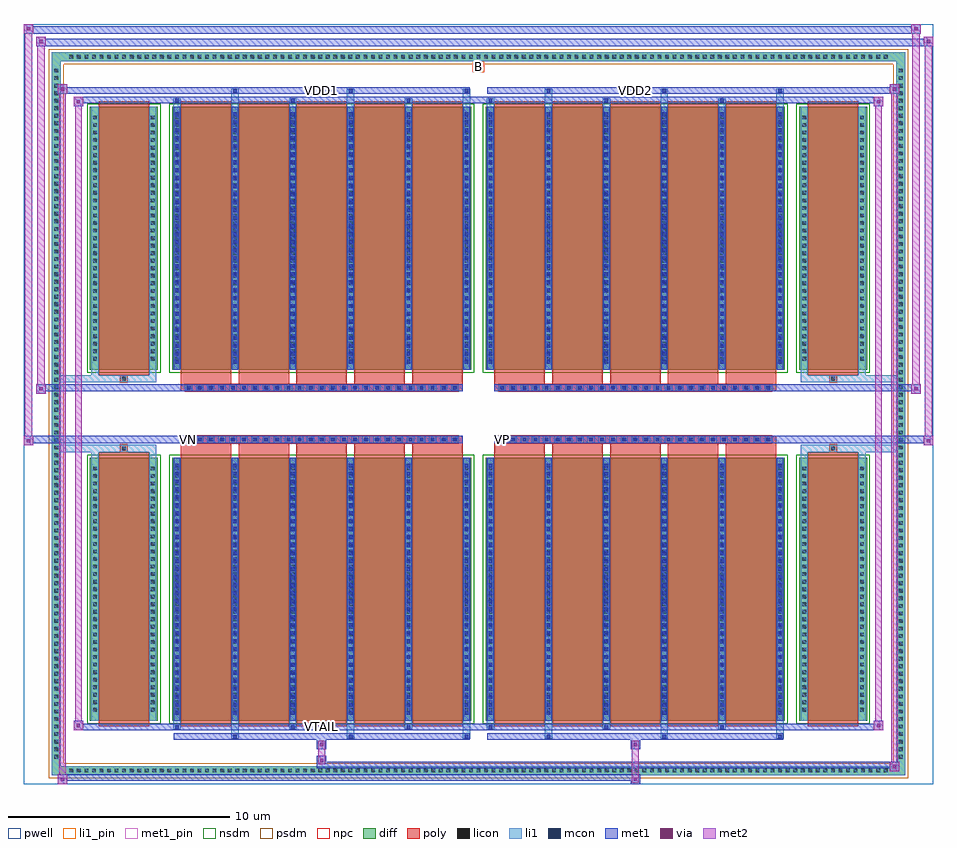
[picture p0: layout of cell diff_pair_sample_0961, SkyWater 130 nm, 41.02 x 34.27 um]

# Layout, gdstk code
import gdstk
lib = gdstk.Library(unit=1e-6, precision=5e-09)
def R(c, l, rs):  # rectangles x0, y0, x1, y1
    for r in rs: c.add(gdstk.rectangle(r[:2], r[2:], *l))
def A(c, l, x, y, w, h, nx, ny, dx, dy):  # array of equal rectangles
    R(c, l, [(x+i*dx, y+j*dy, x+i*dx+w, y+j*dy+h) for i in range(nx) for j in range(ny)])
def P(c, l, *ps):  # polygons
    for p in ps: c.add(gdstk.Polygon(p, *l))
pwell = (64, 44)
diff = (65, 20)
poly = (66, 20)
licon = (66, 44)
li1_pin = (67, 16)
li1 = (67, 20)
mcon = (67, 44)
met1_pin = (68, 16)
met1 = (68, 20)
via = (68, 44)
met2 = (69, 20)
nsdm = (93, 44)
psdm = (94, 20)
npc = (95, 20)

diff_pair_sample_0961 = lib.new_cell('diff_pair_sample_0961')
R(diff_pair_sample_0961, pwell, [(-20.51,-16.7,20.51,17.57), (-17.83,-14.89,-0.01,-0.805), (0.01,-14.89,17.83,-0.805), (-17.83,0.805,-0.01,14.89), (0.01,0.805,17.83,14.89)])
A(diff_pair_sample_0961, diff, -18.565, -16.3, 0.41, 0.41, 109, 2, 0.34, 32.19)
A(diff_pair_sample_0961, diff, -19.24, -15.675, 0.41, 0.41, 1, 92, 0, 0.34)
A(diff_pair_sample_0961, diff, 18.83, -15.675, 0.41, 0.41, 1, 92, 0, 0.34)
R(diff_pair_sample_0961, diff, [(-18.565,-16.3,18.565,-15.89), (-19.24,-15.675,-18.83,15.675), (18.83,-15.675,19.24,15.675), (-17.52,-13.845,-14.46,-1.985), (-13.82,-13.845,-0.32,-1.985), (0.32,-13.845,13.82,-1.985), (14.46,-13.845,17.52,-1.985), (-17.52,1.985,-14.46,13.845), (-13.82,1.985,-0.32,13.845), (0.32,1.985,13.82,13.845), (14.46,1.985,17.52,13.845), (-18.565,15.89,18.565,16.3)])
P(diff_pair_sample_0961, diff, [(19.24,16.3),(-19.24,16.3),(-19.24,-15.89),(-18.83,-15.89),(-18.83,15.89),(18.83,15.89),(18.83,-15.89),(-18.83,-15.89),(-19.24,-15.89),(-19.24,-16.3),(19.24,-16.3)])
A(diff_pair_sample_0961, poly, -13.43, -14.095, 2.28, 12.36, 5, 2, 2.61, 15.83)
A(diff_pair_sample_0961, poly, 0.71, -14.095, 2.28, 12.36, 5, 2, 2.61, 15.83)
A(diff_pair_sample_0961, poly, -13.43, -1.735, 2.28, 0.4, 5, 2, 2.61, 3.07)
A(diff_pair_sample_0961, poly, 0.71, -1.735, 2.28, 0.4, 5, 2, 2.61, 3.07)
A(diff_pair_sample_0961, poly, -13.235, -1.335, 0.33, 0.33, 25, 2, 0.5, 2.34)
A(diff_pair_sample_0961, poly, 0.905, -1.335, 0.33, 0.33, 25, 2, 0.5, 2.34)
R(diff_pair_sample_0961, poly, [(-17.13,-14.095,-14.85,-1.735), (14.85,-14.095,17.13,-1.735), (-16.155,-1.735,-15.825,-1.405), (-16.155,-1.735,-15.825,-1.405), (15.825,-1.735,16.155,-1.405), (15.825,-1.735,16.155,-1.405), (-13.43,-1.335,-0.71,-1.005), (0.71,-1.335,13.43,-1.005), (-13.43,1.005,-0.71,1.335), (0.71,1.005,13.43,1.335), (-16.155,1.405,-15.825,1.735), (-16.155,1.405,-15.825,1.735), (15.825,1.405,16.155,1.735), (15.825,1.405,16.155,1.735), (-17.13,1.735,-14.85,14.095), (14.85,1.735,17.13,14.095)])
A(diff_pair_sample_0961, licon, -18.445, -16.18, 0.17, 0.17, 109, 2, 0.34, 32.19)
A(diff_pair_sample_0961, licon, -19.12, -15.555, 0.17, 0.17, 1, 92, 0, 0.34)
A(diff_pair_sample_0961, licon, 18.95, -15.555, 0.17, 0.17, 1, 92, 0, 0.34)
A(diff_pair_sample_0961, licon, -17.38, -13.44, 0.17, 0.17, 1, 33, 0, 0.34)
A(diff_pair_sample_0961, licon, -14.77, -13.44, 0.17, 0.17, 1, 33, 0, 0.34)
A(diff_pair_sample_0961, licon, -13.68, -13.44, 0.17, 0.17, 6, 33, 2.61, 0.34)
A(diff_pair_sample_0961, licon, 0.46, -13.44, 0.17, 0.17, 6, 33, 2.61, 0.34)
A(diff_pair_sample_0961, licon, 14.6, -13.44, 0.17, 0.17, 1, 33, 0, 0.34)
A(diff_pair_sample_0961, licon, 17.21, -13.44, 0.17, 0.17, 1, 33, 0, 0.34)
A(diff_pair_sample_0961, licon, -13.155, -1.255, 0.17, 0.17, 25, 2, 0.5, 2.34)
A(diff_pair_sample_0961, licon, 0.985, -1.255, 0.17, 0.17, 25, 2, 0.5, 2.34)
A(diff_pair_sample_0961, licon, -17.38, 2.39, 0.17, 0.17, 1, 33, 0, 0.34)
A(diff_pair_sample_0961, licon, -14.77, 2.39, 0.17, 0.17, 1, 33, 0, 0.34)
A(diff_pair_sample_0961, licon, -13.68, 2.39, 0.17, 0.17, 6, 33, 2.61, 0.34)
A(diff_pair_sample_0961, licon, 0.46, 2.39, 0.17, 0.17, 6, 33, 2.61, 0.34)
A(diff_pair_sample_0961, licon, 14.6, 2.39, 0.17, 0.17, 1, 33, 0, 0.34)
A(diff_pair_sample_0961, licon, 17.21, 2.39, 0.17, 0.17, 1, 33, 0, 0.34)
R(diff_pair_sample_0961, licon, [(-16.075,-1.655,-15.905,-1.485), (15.905,-1.655,16.075,-1.485), (-16.075,1.485,-15.905,1.655), (15.905,1.485,16.075,1.655)])
R(diff_pair_sample_0961, li1_pin, [(-0.25,15.39,0.25,15.89)])
A(diff_pair_sample_0961, li1, -18.525, -16.26, 0.33, 0.33, 109, 2, 0.34, 32.19)
A(diff_pair_sample_0961, li1, -19.2, -15.635, 0.33, 0.33, 1, 92, 0, 0.34)
A(diff_pair_sample_0961, li1, 18.87, -15.635, 0.33, 0.33, 1, 92, 0, 0.34)
A(diff_pair_sample_0961, li1, -11.15, -14.65, 0.33, 0.805, 3, 2, 5.22, 28.495)
A(diff_pair_sample_0961, li1, -11.07, -14.65, 0.17, 0.17, 3, 2, 5.22, 29.13)
A(diff_pair_sample_0961, li1, 2.99, -14.65, 0.33, 0.805, 3, 2, 5.22, 28.495)
A(diff_pair_sample_0961, li1, 3.07, -14.65, 0.17, 0.17, 3, 2, 5.22, 29.13)
A(diff_pair_sample_0961, li1, -13.76, -14.22, 0.33, 0.375, 3, 2, 5.22, 28.065)
A(diff_pair_sample_0961, li1, -13.68, -14.22, 0.17, 0.17, 3, 2, 5.22, 28.27)
A(diff_pair_sample_0961, li1, 0.38, -14.22, 0.33, 0.375, 3, 2, 5.22, 28.065)
A(diff_pair_sample_0961, li1, 0.46, -14.22, 0.17, 0.17, 3, 2, 5.22, 28.27)
A(diff_pair_sample_0961, li1, -13.76, -13.845, 0.33, 11.86, 6, 2, 2.61, 15.83)
A(diff_pair_sample_0961, li1, 0.38, -13.845, 0.33, 11.86, 6, 2, 2.61, 15.83)
A(diff_pair_sample_0961, li1, -13.68, -13.58, 0.17, 0.17, 6, 32, 2.61, 0.36)
A(diff_pair_sample_0961, li1, -13.68, -13.58, 0.17, 11.33, 6, 2, 2.61, 15.83)
A(diff_pair_sample_0961, li1, 0.46, -13.58, 0.17, 0.17, 6, 32, 2.61, 0.36)
A(diff_pair_sample_0961, li1, 0.46, -13.58, 0.17, 11.33, 6, 2, 2.61, 15.83)
A(diff_pair_sample_0961, li1, -17.46, -13.52, 0.33, 0.33, 1, 33, 0, 0.34)
A(diff_pair_sample_0961, li1, -14.85, -13.52, 0.33, 0.33, 1, 33, 0, 0.34)
A(diff_pair_sample_0961, li1, -13.76, -13.52, 0.33, 0.33, 6, 33, 2.61, 0.34)
A(diff_pair_sample_0961, li1, 0.38, -13.52, 0.33, 0.33, 6, 33, 2.61, 0.34)
A(diff_pair_sample_0961, li1, 14.52, -13.52, 0.33, 0.33, 1, 33, 0, 0.34)
A(diff_pair_sample_0961, li1, 17.13, -13.52, 0.33, 0.33, 1, 33, 0, 0.34)
A(diff_pair_sample_0961, li1, -13.235, -1.335, 0.33, 0.33, 25, 2, 0.5, 2.34)
A(diff_pair_sample_0961, li1, 0.905, -1.335, 0.33, 0.33, 25, 2, 0.5, 2.34)
A(diff_pair_sample_0961, li1, -13.68, 2.25, 0.17, 0.17, 6, 32, 2.61, 0.36)
A(diff_pair_sample_0961, li1, 0.46, 2.25, 0.17, 0.17, 6, 32, 2.61, 0.36)
A(diff_pair_sample_0961, li1, -17.46, 2.31, 0.33, 0.33, 1, 33, 0, 0.34)
A(diff_pair_sample_0961, li1, -14.85, 2.31, 0.33, 0.33, 1, 33, 0, 0.34)
A(diff_pair_sample_0961, li1, -13.76, 2.31, 0.33, 0.33, 6, 33, 2.61, 0.34)
A(diff_pair_sample_0961, li1, 0.38, 2.31, 0.33, 0.33, 6, 33, 2.61, 0.34)
A(diff_pair_sample_0961, li1, 14.52, 2.31, 0.33, 0.33, 1, 33, 0, 0.34)
A(diff_pair_sample_0961, li1, 17.13, 2.31, 0.33, 0.33, 1, 33, 0, 0.34)
R(diff_pair_sample_0961, li1, [(-19.24,-16.3,-18.83,-15.89), (-19.24,-16.3,-18.83,-15.89), (-18.83,-16.3,18.83,-15.89), (18.83,-16.3,19.24,-15.89), (18.83,-16.3,19.24,-15.89), (-19.24,-15.89,-18.83,15.89), (18.83,-15.89,19.24,15.89), (-17.46,-13.845,-17.13,-1.985), (-14.85,-13.845,-14.52,-1.985), (14.52,-13.845,14.85,-1.985), (17.13,-13.845,17.46,-1.985), (-17.46,-1.985,-17.13,-1.405), (-14.85,-1.985,-14.52,-1.405), (14.52,-1.985,14.85,-1.405), (17.13,-1.985,17.46,-1.405), (-19.24,-1.735,-16.155,-1.405), (-17.46,-1.735,-16.155,-1.405), (-16.155,-1.735,-15.825,-1.405), (-15.825,-1.735,-14.52,-1.405), (14.52,-1.735,15.825,-1.405), (15.825,-1.735,16.155,-1.405), (15.825,-1.735,19.24,-1.405), (16.155,-1.735,17.46,-1.405), (-19.24,1.405,-16.155,1.735), (-17.46,1.405,-16.155,1.735), (-17.46,1.405,-17.13,1.985), (-16.155,1.405,-15.825,1.735), (-15.825,1.405,-14.52,1.735), (-14.85,1.405,-14.52,1.985), (14.52,1.405,15.825,1.735), (14.52,1.405,14.85,1.985), (15.825,1.405,16.155,1.735), (15.825,1.405,19.24,1.735), (16.155,1.405,17.46,1.735), (17.13,1.405,17.46,1.985), (-17.46,1.985,-17.13,13.845), (-14.85,1.985,-14.52,13.845), (14.52,1.985,14.85,13.845), (17.13,1.985,17.46,13.845), (-19.24,15.89,-18.83,16.3), (-19.24,15.89,-18.83,16.3), (-18.83,15.89,18.83,16.3), (18.83,15.89,19.24,16.3), (18.83,15.89,19.24,16.3)])
A(diff_pair_sample_0961, mcon, -11.07, -14.65, 0.17, 0.17, 3, 2, 5.22, 29.13)
A(diff_pair_sample_0961, mcon, 3.07, -14.65, 0.17, 0.17, 3, 2, 5.22, 29.13)
A(diff_pair_sample_0961, mcon, -13.68, -14.22, 0.17, 0.17, 3, 2, 5.22, 28.27)
A(diff_pair_sample_0961, mcon, 0.46, -14.22, 0.17, 0.17, 3, 2, 5.22, 28.27)
A(diff_pair_sample_0961, mcon, -13.68, -13.58, 0.17, 0.17, 6, 32, 2.61, 0.36)
A(diff_pair_sample_0961, mcon, 0.46, -13.58, 0.17, 0.17, 6, 32, 2.61, 0.36)
A(diff_pair_sample_0961, mcon, -13.155, -1.255, 0.17, 0.17, 25, 2, 0.5, 2.34)
A(diff_pair_sample_0961, mcon, 0.985, -1.255, 0.17, 0.17, 25, 2, 0.5, 2.34)
A(diff_pair_sample_0961, mcon, -13.68, 2.25, 0.17, 0.17, 6, 32, 2.61, 0.36)
A(diff_pair_sample_0961, mcon, 0.46, 2.25, 0.17, 0.17, 6, 32, 2.61, 0.36)
R(diff_pair_sample_0961, met1_pin, [(-7.205,-14.26,-6.935,-13.99), (-13.205,-1.295,-12.935,-1.025), (0.935,-1.295,1.205,-1.025), (-7.205,14.44,-6.935,14.71), (6.935,14.44,7.205,14.71)])
A(diff_pair_sample_0961, met1, -11.13, -14.71, 0.29, 0.29, 3, 2, 5.22, 29.13)
A(diff_pair_sample_0961, met1, 3.01, -14.71, 0.29, 0.29, 3, 2, 5.22, 29.13)
A(diff_pair_sample_0961, met1, -13.74, -14.28, 0.29, 0.29, 3, 2, 5.22, 28.27)
A(diff_pair_sample_0961, met1, 0.4, -14.28, 0.29, 0.29, 3, 2, 5.22, 28.27)
A(diff_pair_sample_0961, met1, -13.74, -13.845, 0.29, 11.86, 6, 2, 2.61, 15.83)
A(diff_pair_sample_0961, met1, 0.4, -13.845, 0.29, 11.86, 6, 2, 2.61, 15.83)
A(diff_pair_sample_0961, met1, -13.74, -13.64, 0.29, 0.29, 6, 32, 2.61, 0.36)
A(diff_pair_sample_0961, met1, 0.4, -13.64, 0.29, 0.29, 6, 32, 2.61, 0.36)
A(diff_pair_sample_0961, met1, -13.215, -1.315, 0.29, 0.29, 25, 2, 0.5, 2.34)
A(diff_pair_sample_0961, met1, 0.925, -1.315, 0.29, 0.29, 25, 2, 0.5, 2.34)
A(diff_pair_sample_0961, met1, -13.74, 2.19, 0.29, 0.29, 6, 32, 2.61, 0.36)
A(diff_pair_sample_0961, met1, 0.4, 2.19, 0.29, 0.29, 6, 32, 2.61, 0.36)
R(diff_pair_sample_0961, met1, [(-18.97,-16.7,-18.54,-16.27), (6.855,-16.7,7.285,-16.27), (-18.97,-16.56,7.285,-16.27), (18.54,-16.13,18.97,-15.7), (-7.285,-15.99,18.97,-15.7), (-7.285,-15.85,-6.855,-15.42), (-7.285,-15.14,-6.855,-14.71), (6.855,-15.14,7.285,-14.71), (-13.74,-14.71,-0.4,-14.42), (0.4,-14.71,13.74,-14.42), (-18.26,-14.28,-17.83,-13.85), (-18.26,-14.28,-13.74,-13.99), (-13.74,-14.28,-0.4,-13.99), (-0.4,-14.28,0.4,-13.99), (0.4,-14.28,13.74,-13.99), (13.74,-14.28,18.26,-13.99), (17.83,-14.28,18.26,-13.85), (-20.51,-1.435,-20.08,-1.005), (20.08,-1.435,20.51,-1.005), (-20.51,-1.335,-0.71,-1.005), (-13.43,-1.335,-0.71,-1.005), (0.71,-1.335,13.43,-1.005), (0.71,-1.335,20.51,-1.005), (-19.94,0.905,-19.51,1.335), (19.51,0.905,19.94,1.335), (-19.94,1.005,-13.43,1.335), (-13.43,1.005,-0.71,1.335), (0.71,1.005,13.43,1.335), (13.43,1.005,19.94,1.335), (-18.26,13.85,-17.83,14.28), (17.83,13.85,18.26,14.28), (-18.26,13.99,-13.74,14.28), (-13.74,13.99,-0.4,14.28), (-0.4,13.99,0.4,14.28), (0.4,13.99,13.74,14.28), (13.74,13.99,18.26,14.28), (-18.97,14.42,-18.54,14.85), (-18.97,14.42,-13.74,14.71), (-13.74,14.42,-0.4,14.71), (0.4,14.42,13.74,14.71), (13.74,14.42,18.97,14.71), (18.54,14.42,18.97,14.85), (-19.94,16.57,-19.51,17), (-19.94,16.57,-17.83,16.9), (-17.83,16.57,17.83,16.9), (17.83,16.57,20.51,16.9), (20.08,16.57,20.51,17), (-20.51,17.14,-20.08,17.57), (-20.51,17.14,-17.83,17.47), (-17.83,17.14,17.83,17.47), (17.83,17.14,19.94,17.47), (19.51,17.14,19.94,17.57)])
R(diff_pair_sample_0961, via, [(-18.83,-16.56,-18.68,-16.41), (6.995,-16.56,7.145,-16.41), (18.68,-15.99,18.83,-15.84), (-7.145,-15.71,-6.995,-15.56), (-7.145,-15,-6.995,-14.85), (6.995,-15,7.145,-14.85), (-18.12,-14.14,-17.97,-13.99), (17.97,-14.14,18.12,-13.99), (-20.37,-1.295,-20.22,-1.145), (20.22,-1.295,20.37,-1.145), (-19.8,1.045,-19.65,1.195), (19.65,1.045,19.8,1.195), (-18.12,13.99,-17.97,14.14), (17.97,13.99,18.12,14.14), (-18.83,14.56,-18.68,14.71), (18.68,14.56,18.83,14.71), (-19.8,16.71,-19.65,16.86), (20.22,16.71,20.37,16.86), (-20.37,17.28,-20.22,17.43), (19.65,17.28,19.8,17.43)])
R(diff_pair_sample_0961, met2, [(-18.97,-16.7,-18.54,-16.27), (-18.9,-16.7,-18.61,14.85), (-18.61,-16.7,-18.54,-16.27), (-18.92,-16.65,-18.59,-16.32), (6.905,-16.65,7.235,-16.32), (6.905,-16.32,7.235,-15.09), (18.54,-16.13,18.97,-15.7), (18.61,-16.13,18.9,14.85), (18.9,-16.13,18.97,-15.7), (18.59,-16.08,18.92,-15.75), (-7.235,-15.8,-6.905,-15.47), (-7.235,-15.47,-6.905,-15.09), (-7.235,-15.09,-6.905,-14.76), (6.905,-15.09,7.235,-14.76), (-18.26,-14.28,-17.83,-13.85), (-18.19,-14.28,-17.9,14.28), (-17.9,-14.28,-17.83,-13.85), (17.83,-14.28,18.26,-13.85), (17.9,-14.28,18.19,14.28), (18.19,-14.28,18.26,-13.85), (-18.21,-14.23,-17.88,-13.9), (17.88,-14.23,18.21,-13.9), (-20.51,-1.435,-20.08,-1.005), (-20.46,-1.435,-20.13,17.57), (-20.13,-1.435,-20.08,-1.005), (20.08,-1.435,20.51,-1.005), (20.13,-1.435,20.46,17), (20.46,-1.435,20.51,-1.005), (-20.46,-1.385,-20.13,-1.055), (20.13,-1.385,20.46,-1.055), (-19.94,0.905,-19.51,1.335), (-19.89,0.905,-19.56,17), (-19.56,0.905,-19.51,1.335), (19.51,0.905,19.94,1.335), (19.56,0.905,19.89,17.57), (19.89,0.905,19.94,1.335), (-19.89,0.955,-19.56,1.285), (19.56,0.955,19.89,1.285), (-18.26,13.85,-17.83,14.28), (-17.9,13.85,-17.83,14.28), (17.83,13.85,18.26,14.28), (18.19,13.85,18.26,14.28), (-18.21,13.9,-17.88,14.23), (17.88,13.9,18.21,14.23), (-18.97,14.42,-18.54,14.85), (-18.61,14.42,-18.54,14.85), (18.54,14.42,18.97,14.85), (18.9,14.42,18.97,14.85), (-18.92,14.47,-18.59,14.8), (18.59,14.47,18.92,14.8), (-19.94,16.57,-19.51,17), (-19.56,16.57,-19.51,17), (20.08,16.57,20.51,17), (20.46,16.57,20.51,17), (-19.89,16.62,-19.56,16.95), (20.13,16.62,20.46,16.95), (-20.51,17.14,-20.08,17.57), (-20.13,17.14,-20.08,17.57), (19.51,17.14,19.94,17.57), (19.89,17.14,19.94,17.57), (-20.46,17.19,-20.13,17.52), (19.56,17.19,19.89,17.52)])
R(diff_pair_sample_0961, nsdm, [(-17.65,-13.975,-14.33,-1.855), (-13.95,-13.975,-0.19,-1.855), (0.19,-13.975,13.95,-1.855), (14.33,-13.975,17.65,-1.855), (-17.65,1.855,-14.33,13.975), (-13.95,1.855,-0.19,13.975), (0.19,1.855,13.95,13.975), (14.33,1.855,17.65,13.975)])
P(diff_pair_sample_0961, psdm, [(19.37,16.43),(-19.37,16.43),(-19.37,-15.76),(-18.7,-15.76),(-18.7,15.76),(18.7,15.76),(18.7,-15.76),(-18.7,-15.76),(-19.37,-15.76),(-19.37,-16.43),(19.37,-16.43)])
A(diff_pair_sample_0961, npc, -13.255, -1.355, 0.37, 0.37, 25, 2, 0.5, 2.34)
A(diff_pair_sample_0961, npc, 0.885, -1.355, 0.37, 0.37, 25, 2, 0.5, 2.34)
R(diff_pair_sample_0961, npc, [(-16.175,-1.755,-15.805,-1.385), (15.805,-1.755,16.175,-1.385), (-13.255,-1.355,-12.385,-0.985), (-13.255,-1.355,-12.385,-0.985), (-12.755,-1.355,-11.885,-0.985), (-12.755,-1.355,-11.885,-0.985), (-12.255,-1.355,-11.385,-0.985), (-12.255,-1.355,-11.385,-0.985), (-11.755,-1.355,-10.885,-0.985), (-11.755,-1.355,-10.885,-0.985), (-11.255,-1.355,-10.385,-0.985), (-11.255,-1.355,-10.385,-0.985), (-10.755,-1.355,-9.885,-0.985), (-10.755,-1.355,-9.885,-0.985), (-10.255,-1.355,-9.385,-0.985), (-10.255,-1.355,-9.385,-0.985), (-9.755,-1.355,-8.885,-0.985), (-9.755,-1.355,-8.885,-0.985), (-9.255,-1.355,-8.385,-0.985), (-9.255,-1.355,-8.385,-0.985), (-8.755,-1.355,-7.885,-0.985), (-8.755,-1.355,-7.885,-0.985), (-8.255,-1.355,-7.385,-0.985), (-8.255,-1.355,-7.385,-0.985), (-7.755,-1.355,-6.885,-0.985), (-7.755,-1.355,-6.885,-0.985), (-7.255,-1.355,-6.385,-0.985), (-7.255,-1.355,-6.385,-0.985), (-6.755,-1.355,-5.885,-0.985), (-6.755,-1.355,-5.885,-0.985), (-6.255,-1.355,-5.385,-0.985), (-6.255,-1.355,-5.385,-0.985), (-5.755,-1.355,-4.885,-0.985), (-5.755,-1.355,-4.885,-0.985), (-5.255,-1.355,-4.385,-0.985), (-5.255,-1.355,-4.385,-0.985), (-4.755,-1.355,-3.885,-0.985), (-4.755,-1.355,-3.885,-0.985), (-4.255,-1.355,-3.385,-0.985), (-4.255,-1.355,-3.385,-0.985), (-3.755,-1.355,-2.885,-0.985), (-3.755,-1.355,-2.885,-0.985), (-3.255,-1.355,-2.385,-0.985), (-3.255,-1.355,-2.385,-0.985), (-2.755,-1.355,-1.885,-0.985), (-2.755,-1.355,-1.885,-0.985), (-2.255,-1.355,-1.385,-0.985), (-2.255,-1.355,-1.385,-0.985), (-1.755,-1.355,-0.885,-0.985), (-1.755,-1.355,-0.885,-0.985), (0.885,-1.355,1.755,-0.985), (0.885,-1.355,1.755,-0.985), (1.385,-1.355,2.255,-0.985), (1.385,-1.355,2.255,-0.985), (1.885,-1.355,2.755,-0.985), (1.885,-1.355,2.755,-0.985), (2.385,-1.355,3.255,-0.985), (2.385,-1.355,3.255,-0.985), (2.885,-1.355,3.755,-0.985), (2.885,-1.355,3.755,-0.985), (3.385,-1.355,4.255,-0.985), (3.385,-1.355,4.255,-0.985), (3.885,-1.355,4.755,-0.985), (3.885,-1.355,4.755,-0.985), (4.385,-1.355,5.255,-0.985), (4.385,-1.355,5.255,-0.985), (4.885,-1.355,5.755,-0.985), (4.885,-1.355,5.755,-0.985), (5.385,-1.355,6.255,-0.985), (5.385,-1.355,6.255,-0.985), (5.885,-1.355,6.755,-0.985), (5.885,-1.355,6.755,-0.985), (6.385,-1.355,7.255,-0.985), (6.385,-1.355,7.255,-0.985), (6.885,-1.355,7.755,-0.985), (6.885,-1.355,7.755,-0.985), (7.385,-1.355,8.255,-0.985), (7.385,-1.355,8.255,-0.985), (7.885,-1.355,8.755,-0.985), (7.885,-1.355,8.755,-0.985), (8.385,-1.355,9.255,-0.985), (8.385,-1.355,9.255,-0.985), (8.885,-1.355,9.755,-0.985), (8.885,-1.355,9.755,-0.985), (9.385,-1.355,10.255,-0.985), (9.385,-1.355,10.255,-0.985), (9.885,-1.355,10.755,-0.985), (9.885,-1.355,10.755,-0.985), (10.385,-1.355,11.255,-0.985), (10.385,-1.355,11.255,-0.985), (10.885,-1.355,11.755,-0.985), (10.885,-1.355,11.755,-0.985), (11.385,-1.355,12.255,-0.985), (11.385,-1.355,12.255,-0.985), (11.885,-1.355,12.755,-0.985), (11.885,-1.355,12.755,-0.985), (12.385,-1.355,13.255,-0.985), (12.385,-1.355,13.255,-0.985), (-13.255,0.985,-12.385,1.355), (-13.255,0.985,-12.385,1.355), (-12.755,0.985,-11.885,1.355), (-12.755,0.985,-11.885,1.355), (-12.255,0.985,-11.385,1.355), (-12.255,0.985,-11.385,1.355), (-11.755,0.985,-10.885,1.355), (-11.755,0.985,-10.885,1.355), (-11.255,0.985,-10.385,1.355), (-11.255,0.985,-10.385,1.355), (-10.755,0.985,-9.885,1.355), (-10.755,0.985,-9.885,1.355), (-10.255,0.985,-9.385,1.355), (-10.255,0.985,-9.385,1.355), (-9.755,0.985,-8.885,1.355), (-9.755,0.985,-8.885,1.355), (-9.255,0.985,-8.385,1.355), (-9.255,0.985,-8.385,1.355), (-8.755,0.985,-7.885,1.355), (-8.755,0.985,-7.885,1.355), (-8.255,0.985,-7.385,1.355), (-8.255,0.985,-7.385,1.355), (-7.755,0.985,-6.885,1.355), (-7.755,0.985,-6.885,1.355), (-7.255,0.985,-6.385,1.355), (-7.255,0.985,-6.385,1.355), (-6.755,0.985,-5.885,1.355), (-6.755,0.985,-5.885,1.355), (-6.255,0.985,-5.385,1.355), (-6.255,0.985,-5.385,1.355), (-5.755,0.985,-4.885,1.355), (-5.755,0.985,-4.885,1.355), (-5.255,0.985,-4.385,1.355), (-5.255,0.985,-4.385,1.355), (-4.755,0.985,-3.885,1.355), (-4.755,0.985,-3.885,1.355), (-4.255,0.985,-3.385,1.355), (-4.255,0.985,-3.385,1.355), (-3.755,0.985,-2.885,1.355), (-3.755,0.985,-2.885,1.355), (-3.255,0.985,-2.385,1.355), (-3.255,0.985,-2.385,1.355), (-2.755,0.985,-1.885,1.355), (-2.755,0.985,-1.885,1.355), (-2.255,0.985,-1.385,1.355), (-2.255,0.985,-1.385,1.355), (-1.755,0.985,-0.885,1.355), (-1.755,0.985,-0.885,1.355), (0.885,0.985,1.755,1.355), (0.885,0.985,1.755,1.355), (1.385,0.985,2.255,1.355), (1.385,0.985,2.255,1.355), (1.885,0.985,2.755,1.355), (1.885,0.985,2.755,1.355), (2.385,0.985,3.255,1.355), (2.385,0.985,3.255,1.355), (2.885,0.985,3.755,1.355), (2.885,0.985,3.755,1.355), (3.385,0.985,4.255,1.355), (3.385,0.985,4.255,1.355), (3.885,0.985,4.755,1.355), (3.885,0.985,4.755,1.355), (4.385,0.985,5.255,1.355), (4.385,0.985,5.255,1.355), (4.885,0.985,5.755,1.355), (4.885,0.985,5.755,1.355), (5.385,0.985,6.255,1.355), (5.385,0.985,6.255,1.355), (5.885,0.985,6.755,1.355), (5.885,0.985,6.755,1.355), (6.385,0.985,7.255,1.355), (6.385,0.985,7.255,1.355), (6.885,0.985,7.755,1.355), (6.885,0.985,7.755,1.355), (7.385,0.985,8.255,1.355), (7.385,0.985,8.255,1.355), (7.885,0.985,8.755,1.355), (7.885,0.985,8.755,1.355), (8.385,0.985,9.255,1.355), (8.385,0.985,9.255,1.355), (8.885,0.985,9.755,1.355), (8.885,0.985,9.755,1.355), (9.385,0.985,10.255,1.355), (9.385,0.985,10.255,1.355), (9.885,0.985,10.755,1.355), (9.885,0.985,10.755,1.355), (10.385,0.985,11.255,1.355), (10.385,0.985,11.255,1.355), (10.885,0.985,11.755,1.355), (10.885,0.985,11.755,1.355), (11.385,0.985,12.255,1.355), (11.385,0.985,12.255,1.355), (11.885,0.985,12.755,1.355), (11.885,0.985,12.755,1.355), (12.385,0.985,13.255,1.355), (12.385,0.985,13.255,1.355), (-16.175,1.385,-15.805,1.755), (15.805,1.385,16.175,1.755)])
diff_pair_sample_0961.add(gdstk.Label('VTAIL', (-7.07,-14.125), layer=68, texttype=5))
diff_pair_sample_0961.add(gdstk.Label('VN', (-13.07,-1.16), layer=68, texttype=5))
diff_pair_sample_0961.add(gdstk.Label('VP', (1.07,-1.16), layer=68, texttype=5))
diff_pair_sample_0961.add(gdstk.Label('B', (0,15.64), layer=67, texttype=5))
diff_pair_sample_0961.add(gdstk.Label('VDD2', (7.07,14.575), layer=68, texttype=5))
diff_pair_sample_0961.add(gdstk.Label('VDD1', (-7.07,14.575), layer=68, texttype=5))

lib.write_gds('diff_pair_sample_0961.gds')
